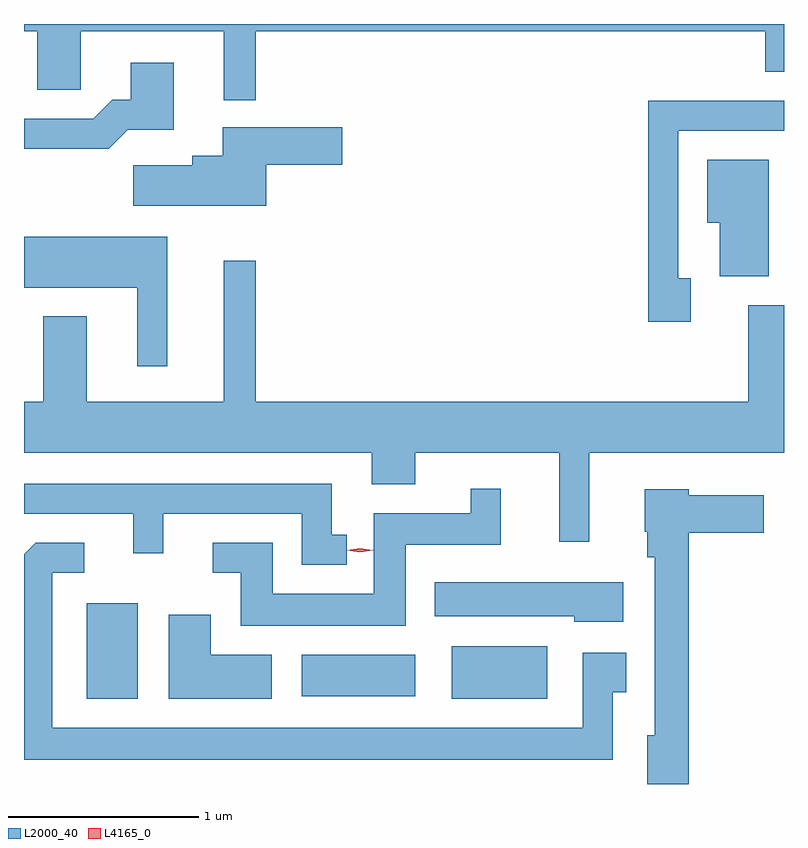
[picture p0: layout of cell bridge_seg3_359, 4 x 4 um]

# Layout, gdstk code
import gdstk
lib = gdstk.Library(unit=1e-6, precision=1e-09)
def R(c, l, rs):  # rectangles x0, y0, x1, y1
    for r in rs: c.add(gdstk.rectangle(r[:2], r[2:], *l))
def P(c, l, *ps):  # polygons
    for p in ps: c.add(gdstk.Polygon(p, *l))
L2000_40 = (2000, 40)
L4165_0 = (4165, 0)

bridge_seg3_359 = lib.new_cell('bridge_seg3_359')
R(bridge_seg3_359, L2000_40, [(685.931,1126.941,686.199,1127.444), (687.851,1126.941,688.354,1127.219), (687.061,1126.956,687.659,1127.174)])
P(bridge_seg3_359, L2000_40, [(686.819,1130.456),(689.501,1130.456),(689.501,1130.241),(689.6,1130.241),(689.6,1130.493),(685.6,1130.493),(685.6,1130.456),(685.671,1130.456),(685.671,1130.146),(685.899,1130.146),(685.899,1130.456),(686.651,1130.456),(686.651,1130.093),(686.819,1130.093)],
  [(686.147,1129.936),(686.389,1129.936),(686.389,1130.289),(686.161,1130.289),(686.161,1130.094),(686.064,1130.094),(685.964,1129.994),(685.6,1129.994),(685.6,1129.836),(686.047,1129.836)],
  [(689.109,1129.154),(689.044,1129.154),(689.044,1129.931),(689.6,1129.931),(689.6,1130.089),(688.886,1130.089),(688.886,1128.926),(689.109,1128.926)],
  [(686.874,1129.751),(687.274,1129.751),(687.274,1129.949),(686.646,1129.949),(686.646,1129.799),(686.486,1129.799),(686.486,1129.749),(686.176,1129.749),(686.176,1129.536),(686.874,1129.536)],
  [(689.519,1129.779),(689.196,1129.779),(689.196,1129.446),(689.261,1129.446),(689.261,1129.166),(689.519,1129.166)],
  [(686.354,1129.374),(685.6,1129.374),(685.6,1129.106),(686.196,1129.106),(686.196,1128.693),(686.354,1128.693)],
  [(686.819,1129.248),(686.651,1129.248),(686.651,1128.504),(685.929,1128.504),(685.929,1128.954),(685.701,1128.954),(685.701,1128.504),(685.6,1128.504),(685.6,1128.236),(687.431,1128.236),(687.431,1128.071),(687.659,1128.071),(687.659,1128.236),(688.416,1128.236),(688.416,1127.768),(688.574,1127.768),(688.574,1128.236),(689.6,1128.236),(689.6,1129.014),(689.411,1129.014),(689.411,1128.504),(686.819,1128.504)],
  [(687.298,1127.804),(687.219,1127.804),(687.219,1128.074),(685.6,1128.074),(685.6,1127.916),(686.176,1127.916),(686.176,1127.708),(686.334,1127.708),(686.334,1127.916),(687.061,1127.916),(687.061,1127.646),(687.298,1127.646)],
  [(687.609,1127.751),(688.109,1127.751),(688.109,1128.048),(687.951,1128.048),(687.951,1127.919),(687.441,1127.919),(687.441,1127.494),(686.909,1127.494),(686.909,1127.764),(686.593,1127.764),(686.593,1127.606),(686.741,1127.606),(686.741,1127.326),(687.609,1127.326)],
  [(689.099,1127.816),(689.494,1127.816),(689.494,1128.014),(689.099,1128.014),(689.099,1128.044),(688.866,1128.044),(688.866,1127.82),(688.881,1127.82),(688.881,1127.686),(688.921,1127.686),(688.921,1126.749),(688.881,1126.749),(688.881,1126.493),(689.099,1126.493)],
  [(688.699,1126.976),(688.769,1126.976),(688.769,1127.184),(688.541,1127.184),(688.541,1126.789),(685.749,1126.789),(685.749,1127.606),(685.918,1127.606),(685.918,1127.764),(685.662,1127.764),(685.6,1127.703),(685.6,1126.621),(688.699,1126.621)],
  [(688.754,1127.554),(687.761,1127.554),(687.761,1127.376),(688.496,1127.376),(688.496,1127.346),(688.754,1127.346)],
  [(686.904,1127.174),(686.584,1127.174),(686.584,1127.384),(686.361,1127.384),(686.361,1126.941),(686.904,1126.941)])
P(bridge_seg3_359, L4165_0, [(687.368,1127.713),(687.299,1127.723),(687.299,1127.723),(687.299,1127.724),(687.368,1127.733),(687.438,1127.723),(687.438,1127.723),(687.438,1127.722)])

lib.write_gds('bridge_seg3_359.gds')
